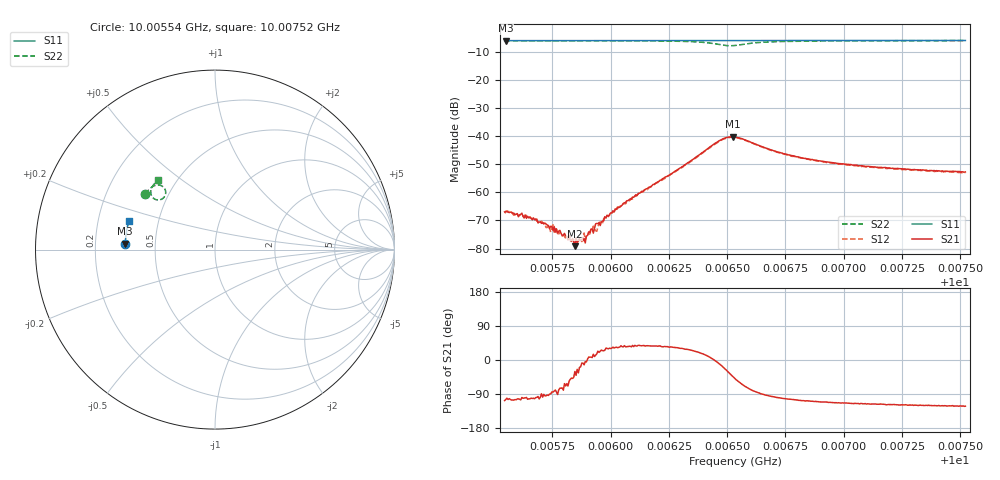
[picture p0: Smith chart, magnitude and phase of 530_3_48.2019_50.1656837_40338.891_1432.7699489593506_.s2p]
#  HZ  S  RI  R  50.00
! Rohde & Schwarz Vector Network Analyzer
! Rohde-Schwarz,ZNB20-2Port,1311601062101988,3.16
! Created: UTC 3/20/2024, 11:59:51 AM
! freq[Hz]  re:S11  im:S11  re:S21  im:S21  re:S12  im:S12  re:S22  im:S22
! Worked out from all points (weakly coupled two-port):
!   401 points, 10.00554 GHz to 10.00752 GHz, reference 50 ohm
!   highest |S21| = -40.19 dB at 10.00652 GHz (marker M1); lowest = -79.2 dB at 10.00585 GHz (marker M2)
!   lowest |S11| = -6.0 dB at 10.00555 GHz (marker M3), VSWR 3.01, Z = 16.6 + j1.44 ohm
!   |S11| at or under -10 dB: nowhere
!   |S22| runs from -7.8 to -6.0 dB; largest |S21 - S12| = 0.0006
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1.0005545e10  -0.5002 0.032  -0.000132 -0.000429  -7.25e-05 -0.000421  -0.3888 0.309
1.000555e10  -0.5002 0.0323  -0.00011 -0.000448  -0.000113 -0.00043  -0.3886 0.3093
1.0005644e10  -0.5 0.0385  -8.82e-05 -0.000363  -5.95e-05 -0.000354  -0.3844 0.3149
1.0005723e10  -0.4997 0.0437  -2.14e-05 -0.000272  -3.02e-05 -0.000235  -0.3806 0.3196
1.0005757e10  -0.4996 0.0458  3.37e-05 -0.000245  -2.96e-08 -0.000195  -0.3788 0.3218
1.0005802e10  -0.4995 0.0489  8.62e-05 -0.000165  5.92e-05 -0.000154  -0.3767 0.3245
1.0005846e10  -0.4992 0.0517  9.52e-05 -5.56e-05  0.000114 -9.28e-05  -0.3744 0.3274
1.0005861e10  -0.4992 0.0528  0.000118 -7.97e-05  0.000105 -8.09e-05  -0.3735 0.3282
1.0005876e10  -0.499 0.0535  0.000143 -2.06e-05  0.000132 -1.62e-05  -0.3725 0.3292
1.0005901e10  -0.499 0.0552  0.00017 7.19e-06  0.000178 -9.44e-07  -0.3712 0.3307
1.000592e10  -0.4989 0.0565  0.000221 2.48e-05  0.00021 4.64e-05  -0.3701 0.3321
1.000594e10  -0.4987 0.0577  0.00027 7.73e-05  0.000199 4.25e-05  -0.3689 0.3333
1.000598e10  -0.4984 0.0604  0.000297 0.000183  0.000307 0.000196  -0.3664 0.3359
1.0006019e10  -0.4982 0.063  0.000425 0.000277  0.000404 0.000272  -0.3637 0.3386
1.0006207e10  -0.4969 0.075  0.00125 0.000946  0.00118 0.00102  -0.3461 0.3523
1.0006459e10  -0.494 0.0912  0.00794 -0.000926  0.00778 -0.000469  -0.2767 0.3318
1.0006523e10  -0.4933 0.0947  0.00712 -0.00671  0.00731 -0.00619  -0.2943 0.2822
1.0006533e10  -0.4932 0.0953  0.00636 -0.00731  0.0066 -0.00681  -0.3025 0.2787
1.0006711e10  -0.4922 0.1066  -0.000806 -0.00524  -0.000538 -0.00519  -0.3582 0.322
1.0006865e10  -0.4902 0.1164  -0.00124 -0.00364  -0.00105 -0.00358  -0.3517 0.3457
1.0007196e10  -0.4857 0.1375  -0.00126 -0.00241  -0.0011 -0.00243  -0.3336 0.3718
1.0007522e10  -0.4799 0.1578  -0.00122 -0.00196  -0.00109 -0.00196  -0.3164 0.3895
